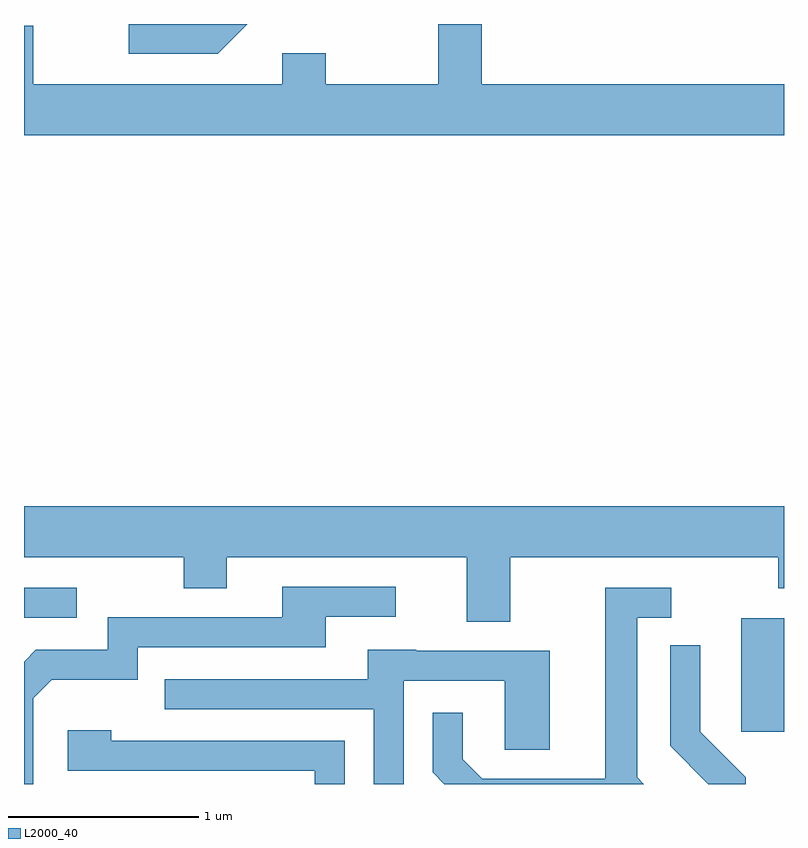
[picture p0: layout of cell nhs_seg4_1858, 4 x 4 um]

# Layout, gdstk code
import gdstk
lib = gdstk.Library(unit=1e-6, precision=1e-09)
def R(c, l, rs):  # rectangles x0, y0, x1, y1
    for r in rs: c.add(gdstk.rectangle(r[:2], r[2:], *l))
def P(c, l, *ps):  # polygons
    for p in ps: c.add(gdstk.Polygon(p, *l))
L2000_40 = (2000, 40)

nhs_seg4_1858 = lib.new_cell('nhs_seg4_1858')
R(nhs_seg4_1858, L2000_40, [(243.386,1298.256,243.611,1298.854), (239.611,1298.856,239.888,1299.014)])
P(nhs_seg4_1858, L2000_40, [(239.611,1301.974),(239.611,1301.396),(243.611,1301.396),(243.611,1301.664),(242.019,1301.664),(242.019,1301.982),(241.791,1301.982),(241.791,1301.664),(241.199,1301.664),(241.199,1301.829),(240.971,1301.829),(240.971,1301.664),(239.659,1301.664),(239.659,1301.974)],
  [(240.787,1301.982),(240.163,1301.982),(240.163,1301.826),(240.632,1301.826)],
  [(242.169,1299.176),(243.581,1299.176),(243.581,1299.011),(243.611,1299.011),(243.611,1299.444),(239.611,1299.444),(239.611,1299.176),(240.451,1299.176),(240.451,1299.011),(240.679,1299.011),(240.679,1299.176),(241.941,1299.176),(241.941,1298.836),(242.169,1298.836)],
  [(239.659,1298.434),(239.757,1298.531),(240.209,1298.531),(240.209,1298.701),(241.199,1298.701),(241.199,1298.861),(241.568,1298.861),(241.568,1299.019),(240.971,1299.019),(240.971,1298.859),(240.051,1298.859),(240.051,1298.689),(239.674,1298.689),(239.611,1298.626),(239.611,1297.982),(239.659,1297.982)],
  [(242.839,1298.017),(242.839,1298.856),(243.018,1298.856),(243.018,1299.014),(242.671,1299.014),(242.671,1298.009),(242.022,1298.009),(241.919,1298.112),(241.919,1298.358),(241.761,1298.358),(241.761,1298.044),(241.823,1297.982),(242.874,1297.982)],
  [(243.409,1298.017),(243.169,1298.257),(243.169,1298.713),(243.011,1298.713),(243.011,1298.184),(243.213,1297.982),(243.409,1297.982)],
  [(241.609,1298.526),(242.141,1298.526),(242.141,1298.161),(242.379,1298.161),(242.379,1298.684),(241.675,1298.684),(241.675,1298.689),(241.421,1298.689),(241.421,1298.534),(240.353,1298.534),(240.353,1298.376),(241.451,1298.376),(241.451,1297.982),(241.609,1297.982)],
  [(241.299,1298.209),(240.069,1298.209),(240.069,1298.264),(239.841,1298.264),(239.841,1298.051),(241.141,1298.051),(241.141,1297.982),(241.299,1297.982)])

lib.write_gds('nhs_seg4_1858.gds')
